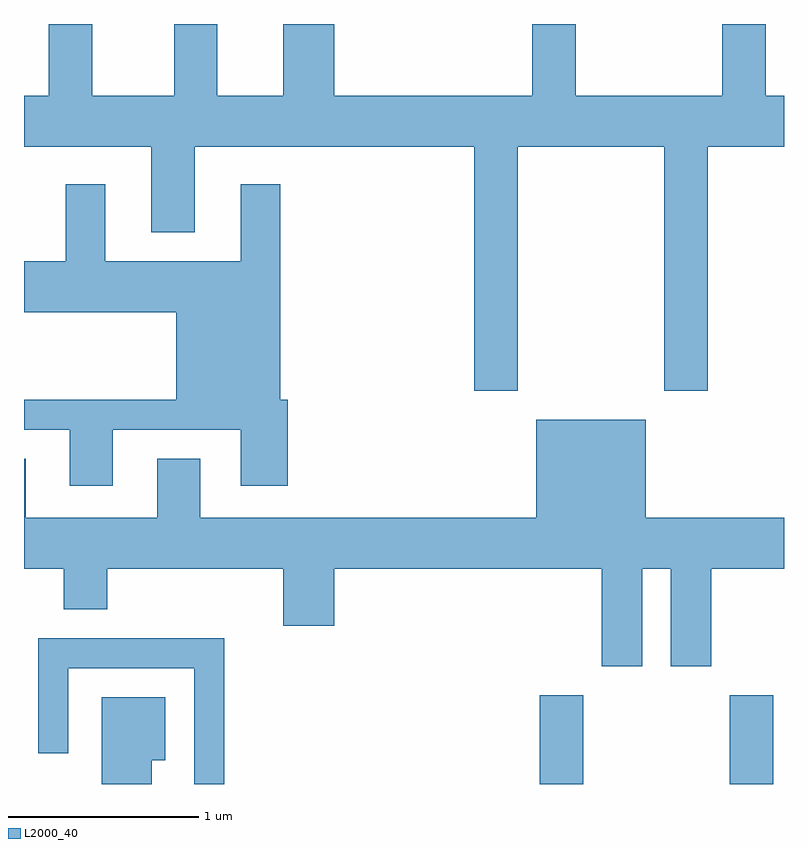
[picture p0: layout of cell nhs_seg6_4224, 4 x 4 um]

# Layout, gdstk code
import gdstk
lib = gdstk.Library(unit=1e-6, precision=1e-09)
def R(c, l, rs):  # rectangles x0, y0, x1, y1
    for r in rs: c.add(gdstk.rectangle(r[:2], r[2:], *l))
def P(c, l, *ps):  # polygons
    for p in ps: c.add(gdstk.Polygon(p, *l))
L2000_40 = (2000, 40)

nhs_seg6_4224 = lib.new_cell('nhs_seg6_4224')
R(nhs_seg6_4224, L2000_40, [(316.326,1622.162,316.554,1622.629), (317.326,1622.162,317.554,1622.629)])
P(nhs_seg6_4224, L2000_40, [(315.244,1626.162),(314.976,1626.162),(314.976,1625.784),(314.629,1625.784),(314.629,1626.162),(314.401,1626.162),(314.401,1625.784),(313.969,1625.784),(313.969,1626.162),(313.741,1626.162),(313.741,1625.784),(313.611,1625.784),(313.611,1625.516),(314.281,1625.516),(314.281,1625.066),(314.509,1625.066),(314.509,1625.516),(315.981,1625.516),(315.981,1624.231),(316.209,1624.231),(316.209,1625.516),(316.981,1625.516),(316.981,1624.231),(317.209,1624.231),(317.209,1625.516),(317.611,1625.516),(317.611,1625.784),(317.514,1625.784),(317.514,1626.162),(317.286,1626.162),(317.286,1625.784),(316.514,1625.784),(316.514,1626.162),(316.286,1626.162),(316.286,1625.784),(315.244,1625.784)],
  [(314.079,1624.026),(314.751,1624.026),(314.751,1623.731),(314.999,1623.731),(314.999,1624.184),(314.959,1624.184),(314.959,1625.319),(314.751,1625.319),(314.751,1624.914),(314.039,1624.914),(314.039,1625.319),(313.831,1625.319),(313.831,1624.914),(313.611,1624.914),(313.611,1624.646),(314.411,1624.646),(314.411,1624.184),(313.611,1624.184),(313.611,1624.026),(313.851,1624.026),(313.851,1623.731),(314.079,1623.731)],
  [(316.864,1623.296),(317.016,1623.296),(317.016,1622.781),(317.229,1622.781),(317.229,1623.296),(317.611,1623.296),(317.611,1623.564),(316.884,1623.564),(316.884,1624.079),(316.306,1624.079),(316.306,1623.564),(314.539,1623.564),(314.539,1623.874),(314.311,1623.874),(314.311,1623.564),(313.619,1623.564),(313.619,1623.874),(313.611,1623.874),(313.611,1623.296),(313.821,1623.296),(313.821,1623.081),(314.049,1623.081),(314.049,1623.296),(314.976,1623.296),(314.976,1622.996),(315.244,1622.996),(315.244,1623.296),(316.651,1623.296),(316.651,1622.781),(316.864,1622.781)],
  [(314.664,1622.929),(313.686,1622.929),(313.686,1622.323),(313.844,1622.323),(313.844,1622.771),(314.506,1622.771),(314.506,1622.162),(314.664,1622.162)],
  [(314.284,1622.286),(314.354,1622.286),(314.354,1622.619),(314.021,1622.619),(314.021,1622.162),(314.284,1622.162)])

lib.write_gds('nhs_seg6_4224.gds')
